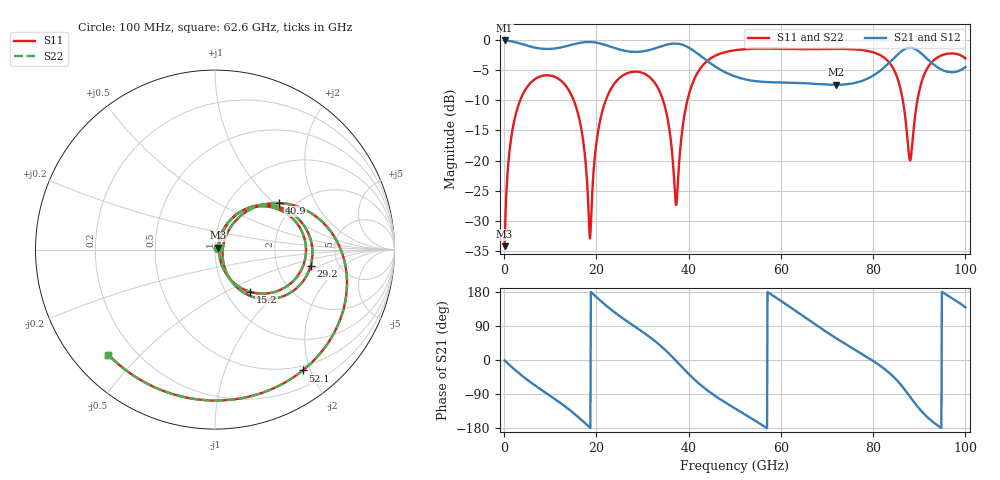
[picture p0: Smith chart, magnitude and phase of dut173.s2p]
! Touchstone file exported from HFSS 2026.1.0
!  File:  C:/ffzhzh/LocalFiles/Ansys_Project_Files/temp_train_TSV_RDL_173_1783651273_26216.aedt
!  Generated:  10:49:57 AM Jul 10, 2026
!  Design:  TSV_RDL
!  Project:  temp_train_TSV_RDL_173_1783651273_26216
! Variables:
!  h_bsmrdl = 3.94um
!  h_ox = 20um
!  h_rdl = 5um
!  h_sub = 93.13um
!  h_tmrdl = 3.77um
!  h_tsv = 93.13um
!  h_via = 3um
!  l_bsmrdl = 536.59um
!  l_sub = 2814.27um
!  l_tmrdl = 175.94um
!  m_sub = 200um
!  pitch = 49.51um
!  r_tsv = 14.07um
!  s_tmrdl = 10um
!  w_bsmrdl = 11.81um
!  w_sub = 500um
!  w_tmrdl = 21.77um
!  x_tsv_center1 = 186.825um
!  x_tsv_center2 = 735.225um
!  x_tsv_center3 = 932.935um
!  x_tsv_center4 = 1481.335um
!  x_tsv_center5 = 1679.045um
!  x_tsv_center6 = 2227.445um
# GHz S MA R 50.000000
! Terminal data exported
! Port[1] = TM_RDL1_1_T1
! Port[2] = TM_RDL5_1_T1
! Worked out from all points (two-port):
!   1000 points, 100 MHz to 100 GHz, reference 50 ohm
!   highest |S21| = -0.14 dB at 100 MHz (marker M1); lowest = -7.5 dB at 71.9 GHz (marker M2)
!   |S21| within 3 dB of the highest: start of sweep to 43.37 GHz; 84.4 GHz to 91.65 GHz (7.254 GHz wide, 8.24 % of centre)
!   lowest |S11| = -34.1 dB at 100 MHz (marker M3), VSWR 1.04, Z = 51.7 + j1.1 ohm
!   |S11| at or under -10 dB: start of sweep to 3.496 GHz; 15.06 GHz to 22.04 GHz (6.979 GHz wide, 37.6 % of centre); 34.44 GHz to 39.74 GHz (5.302 GHz wide, 14.3 % of centre) (the widest 3 of 4)
!   |S22| runs from -34.1 to -1.5 dB; largest |S21 - S12| = 1.8e-11
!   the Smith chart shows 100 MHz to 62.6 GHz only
!   S11 on the Smith chart (normalised r, x): 100 MHz: 1.03, +0.02; 15.2 GHz: 1.29, -0.67; 29.2 GHz: 3.12, -0.81; 40.9 GHz: 1.67, +1.08; 52.1 GHz: 0.43, -1.88; 62.6 GHz: 0.11, -0.41
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0.1  0.01963 32.7  0.9836 -1.2  0.9836 -1.2  0.01963 32.7
! Gamma 0 0 0 0
! Port Impedance 50 0 50 0
1.6  0.1608 64.9  0.9669 -17.9  0.9669 -17.9  0.1608 64.9
4.4  0.3739 40.1  0.9043 -46.5  0.9043 -46.5  0.3739 40.1
9.7  0.5064 -3.9  0.8371 -92.2  0.8371 -92.2  0.5064 -3.9
15.2  0.3067 -50.2  0.9178 -141.6  0.9178 -141.6  0.3067 -50.2
16.8  0.1766 -63.4  0.9455 -158.4  0.9455 -158.4  0.1766 -63.5
18.6  0.02277 -1.8  0.9557 -178.4  0.9557 -178.4  0.02232 -1.9
21.9  0.3054 50.5  0.9031 145.8  0.9031 145.8  0.3053 50.7
29.2  0.5405 -9.7  0.7931 81.0  0.7931 81.0  0.5405 -9.6
33.4  0.3947 -44.6  0.8629 42.9  0.8629 42.9  0.3947 -44.5
37.3  0.04298 -1.1  0.9272 -2.5  0.9272 -2.5  0.04311 -1.0
40.9  0.4411 36.0  0.8179 -47.5  0.8179 -47.5  0.441 36.1
50.1  0.8173 -39.8  0.4953 -128.3  0.4953 -128.3  0.8171 -39.7
52.1  0.8321 -54.0  0.4706 -142.9  0.4706 -142.9  0.8319 -53.9
62.6  0.8342 -135.4  0.4403 134.5  0.4403 134.5  0.8342 -135.4
66.7  0.8335 -169.9  0.4327 100.0  0.4327 100.0  0.8335 -169.9
71.9  0.8378 148.4  0.4232 58.2  0.4232 58.2  0.8379 148.4
78.2  0.813 102.8  0.4655 11.3  0.4655 11.3  0.8132 102.7
83.4  0.6526 62.2  0.639 -33.0  0.639 -33.0  0.6528 62.1
88  0.1001 81.6  0.8565 -96.9  0.8565 -96.9  0.1002 81.6
91.8  0.5837 111.8  0.6881 -151.4  0.6881 -151.4  0.5839 111.9
100  0.6989 53.3  0.5932 139.1  0.5932 139.1  0.6994 53.6
